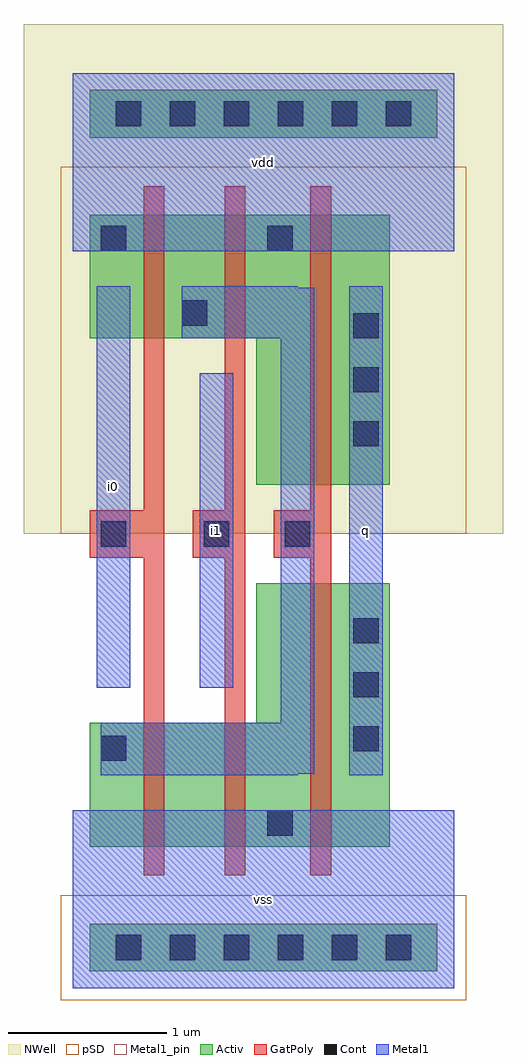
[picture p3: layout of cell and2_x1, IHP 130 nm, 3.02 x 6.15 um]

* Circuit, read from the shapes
.subckt and2_x1 i0 i1 q vdd vss
XM1 n1 i0 n2 vss sg13_lv_nmos w=0.78u l=0.13u
XM2 vss i1 n1 vss sg13_lv_nmos w=0.78u l=0.13u
XM3 q n2 vss vss sg13_lv_nmos w=1.66u l=0.13u
XM4 n2 i0 vdd vdd sg13_lv_pmos w=0.78u l=0.13u
XM5 vdd i1 n2 vdd sg13_lv_pmos w=0.78u l=0.13u
XM6 q n2 vdd vdd sg13_lv_pmos w=1.7u l=0.13u
.ends

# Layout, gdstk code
import gdstk
lib = gdstk.Library(unit=1e-6, precision=1e-09)
def R(c, l, rs):  # rectangles x0, y0, x1, y1
    for r in rs: c.add(gdstk.rectangle(r[:2], r[2:], *l))
def A(c, l, x, y, w, h, nx, ny, dx, dy):  # array of equal rectangles
    R(c, l, [(x+i*dx, y+j*dy, x+i*dx+w, y+j*dy+h) for i in range(nx) for j in range(ny)])
def P(c, l, *ps):  # polygons
    for p in ps: c.add(gdstk.Polygon(p, *l))
Activ = (1, 0)
GatPoly = (5, 0)
Cont = (6, 0)
Metal1 = (8, 0)
Metal1_pin = (8, 2)
pSD = (14, 0)
NWell = (31, 0)

and2_x1 = lib.new_cell('and2_x1')
R(and2_x1, Activ, [(0.105,0.105,2.295,0.405), (0.105,5.355,2.295,5.655)])
P(and2_x1, Activ, [(1.155,3.17),(1.155,4.09),(0.105,4.09),(0.105,4.87),(1.995,4.87),(1.995,3.17)],
  [(0.105,0.89),(0.105,1.67),(1.155,1.67),(1.155,2.55),(1.995,2.55),(1.995,0.89)])
P(and2_x1, GatPoly, [(1.495,0.71),(1.495,2.71),(1.265,2.71),(1.265,3.01),(1.495,3.01),(1.495,5.05),(1.625,5.05),(1.625,0.71)],
  [(0.445,0.71),(0.445,2.71),(0.105,2.71),(0.105,3.01),(0.445,3.01),(0.445,5.05),(0.575,5.05),(0.575,0.71)],
  [(0.955,0.71),(0.955,2.71),(0.755,2.71),(0.755,3.01),(0.955,3.01),(0.955,5.05),(1.085,5.05),(1.085,0.71)])
A(and2_x1, Cont, 0.27, 0.175, 0.16, 0.16, 6, 2, 0.34, 5.25)
A(and2_x1, Cont, 1.765, 1.49, 0.16, 0.16, 1, 3, 0, 0.34)
A(and2_x1, Cont, 1.765, 3.41, 0.16, 0.16, 1, 3, 0, 0.34)
R(and2_x1, Cont, [(1.225,0.96,1.385,1.12), (0.175,1.43,0.335,1.59), (0.175,2.78,0.335,2.94), (0.825,2.78,0.985,2.94), (1.335,2.78,1.495,2.94), (0.685,4.17,0.845,4.33), (0.175,4.64,0.335,4.8), (1.225,4.64,1.385,4.8)])
R(and2_x1, Metal1, [(0,0,2.4,1.12), (1.74,1.34,1.95,4.42), (0.15,1.89,0.36,4.42), (0.8,1.89,1.01,3.87), (0,4.64,2.4,5.76)])
P(and2_x1, Metal1, [(0.175,1.34),(0.175,1.67),(1.31,1.67),(1.31,4.09),(0.685,4.09),(0.685,4.42),(1.415,4.42),(1.415,4.41),(1.52,4.41),(1.52,1.35),(1.415,1.35),(1.415,1.34)])
R(and2_x1, Metal1_pin, [(0,0,2.4,1.12), (1.74,1.34,1.95,4.42), (0.15,1.89,0.36,4.42), (0.8,1.89,1.01,3.87), (0,4.64,2.4,5.76)])
R(and2_x1, pSD, [(-0.075,-0.075,2.475,0.585), (-0.075,2.86,2.475,5.17)])
R(and2_x1, NWell, [(-0.31,2.86,2.71,6.07)])
and2_x1.add(gdstk.Label('vdd', (1.2,5.2), layer=8, texttype=2))
and2_x1.add(gdstk.Label('vss', (1.2,0.56), layer=8, texttype=2))
and2_x1.add(gdstk.Label('i0', (0.255,3.155), layer=8, texttype=2))
and2_x1.add(gdstk.Label('i1', (0.905,2.88), layer=8, texttype=2))
and2_x1.add(gdstk.Label('q', (1.845,2.88), layer=8, texttype=2))

lib.write_gds('and2_x1.gds')
